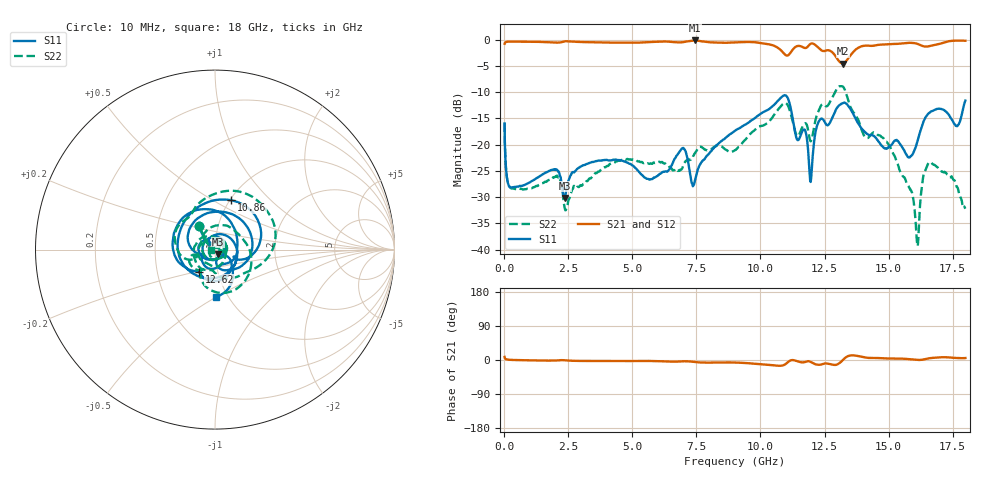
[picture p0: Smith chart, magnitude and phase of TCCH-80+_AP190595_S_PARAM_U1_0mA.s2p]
!Created: 07-29-2019 at 10:54:08
!Mini-Circuits
!S2P DATA File Format
!Type: RF CHOKE
!Port 1: RF; Port 2: RF AND DC IN
!TEST CONDITIONS: Z:50 OHM SYSTEM, INPUT POWER = -10dBm, TEMP:25°C
!REMARKS: TESTED WITH 0 mA CURRENT; FULL 2 PORT CALIBRATION OF THE SYSTEM; FIXTURE THRU LINE LOSS NORMALIZED VIA DATA/MEMORY FUNCTION; FIXTURE RETURN LOSS NORMALIZED VIA DATA-MEMORY FUNCTION.
!FIXTURE: 90-2-20-165
!PRESSING ARM: B85-TA-076
!MODEL: TCCH-80+
!S/N: U1_0mA
# MHZ S DB R 50
!Frequency  S11 dB  S11 DEG  S21 dB  S21 DEG  S12 dB  S12 DEG  S22 dB  S22 DEG
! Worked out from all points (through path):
!   905 points, 10 MHz to 18 GHz, reference 50 ohm
!   highest |S21| = -0.12 dB at 7.44 GHz (marker M1); lowest = -4.5 dB at 13.22 GHz (marker M2)
!   lowest |S11| = -30.1 dB at 2.36 GHz (marker M3), VSWR 1.06, Z = 51.8 - j2.6 ohm
!   |S11| at or under -10 dB: start of sweep to end of sweep
!   |S22| runs from -39.3 to -8.8 dB; largest |S21 - S12| = 0.0067
!   S11 on the Smith chart (normalised r, x): 10 MHz: 0.81, +0.22; 10.86 GHz: 1.02, +0.61; 12.62 GHz: 0.81, -0.21; 18 GHz: 0.88, -0.50
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10  -15.93 124.7  -0.75 8.1  -0.75 8.1  -15.93 123.3
220  -28.12 145.2  -0.34 0.4  -0.34 0.4  -28.11 147.1
2060  -24.78 -35.7  -0.53 -1.2  -0.53 -1.2  -25.91 9.7
2360  -30.14 -53.6  -0.29 -0.8  -0.29 -0.8  -32.16 -22.7
3020  -24.06 -116.5  -0.42 -2.5  -0.42 -2.5  -27.83 -42.4
6020  -25.81 -77.8  -0.35 -3.0  -0.35 -3.0  -23.29 44.4
6960  -20.67 175.2  -0.46 -3.5  -0.45 -3.5  -24.33 -21.5
7440  -26.84 140.9  -0.12 -5.1  -0.13 -5.1  -21.65 -58.5
9020  -17.27 -34.6  -0.47 -6.7  -0.47 -6.8  -21.02 149.0
10200  -13.55 173.4  -0.76 -11.9  -0.76 -11.9  -16.10 33.8
10860  -10.77 71.5  -2.31 -14.5  -2.31 -14.6  -12.31 -48.0
12020  -23.41 -29.4  -0.69 -7.5  -0.70 -7.4  -18.57 -156.0
12260  -15.71 -68.9  -1.49 -12.6  -1.48 -12.5  -13.65 -178.8
12620  -16.32 -125.8  -1.98 -9.5  -1.98 -9.6  -12.57 125.4
13220  -12.07 146.7  -4.53 0.1  -4.56 0.2  -8.95 22.2
13760  -15.49 54.3  -1.70 11.0  -1.69 11.1  -14.79 -62.5
15020  -20.44 -74.1  -0.85 4.1  -0.84 4.1  -20.13 137.6
15900  -22.06 -160.1  -0.58 1.8  -0.58 1.6  -28.93 38.8
16120  -19.47 -170.7  -0.76 0.3  -0.77 0.2  -39.11 62.2
16600  -13.90 112.8  -1.20 4.7  -1.21 4.8  -23.45 14.3
17180  -13.45 12.3  -0.51 7.2  -0.51 7.3  -25.16 -71.1
18000  -11.58 -88.8  -0.18 5.2  -0.17 5.6  -32.20 -173.6
